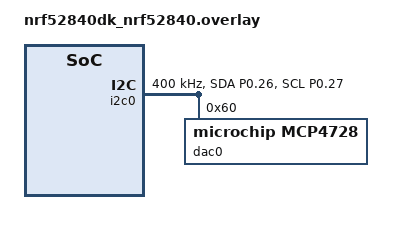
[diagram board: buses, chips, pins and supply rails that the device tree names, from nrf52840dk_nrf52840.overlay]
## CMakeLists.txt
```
cmake_minimum_required(VERSION 3.20.0)
find_package(Zephyr REQUIRED HINTS $ENV{ZEPHYR_BASE})

project(dac-mcp4728)

target_sources(app PRIVATE src/main.c)
```

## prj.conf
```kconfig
CONFIG_PRINTK=y
CONFIG_PWM=y
CONFIG_PWM_LOG_LEVEL_DBG=n
CONFIG_BOOTLOADER_MCUBOOT=y
#CONFIG_UART_ASYNC_API=y

CONFIG_LOG=y
CONFIG_LOG_DEFAULT_LEVEL=3
CONFIG_LOG_BACKEND_UART=y


CONFIG_SENSOR=y
CONFIG_I2C=y

CONFIG_DAC=y
CONFIG_DAC_MCP4728=y


CONFIG_SHELL=y
CONFIG_SHELL_MINIMAL=n
CONFIG_SHELL_STACK_SIZE=1024
CONFIG_SHELL_BACKEND_SERIAL=y
#CONFIG_SHELL_BACKEND_RTT=n
CONFIG_CBPRINTF_NANO=y
CONFIG_THREAD_NAME=n
CONFIG_BOOT_BANNER=n
CONFIG_THREAD_MONITOR=n
CONFIG_INIT_STACKS=y

CONFIG_CBPRINTF_COMPLETE=y

CONFIG_SHELL_PROMPT_UART=""
CONFIG_SHELL_ECHO_STATUS=n
CONFIG_SHELL_VT100_COMMANDS=n
CONFIG_SHELL_VT100_COLORS=n
```

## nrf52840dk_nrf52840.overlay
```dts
// To get started, press Ctrl+Space to bring up the completion menu and view the available nodes.

// You can also use the buttons in the sidebar to perform actions on nodes.
// Actions currently available include:

// * Enabling / disabling the node
// * Adding the bus to a bus
// * Removing the node
// * Connecting ADC channels

// For more help, browse the DeviceTree documentation at https://docs.zephyrproject.org/latest/guides/dts/index.html
// You can also visit the nRF DeviceTree extension documentation at https://docs.nordicsemi.com/bundle/nrf-connect-vscode/page/guides/ncs_configure_app.html#devicetree-support-in-the-extension

/ {
    zephyr,user {
        dac = <&dac0>;
        dac-channel-id = <0>;
        dac-resolution = <12>;
    };
    aliases{
        dac0 = &dac0;
    };
};

&pinctrl {

	i2c0_default: i2c0_default {
		group1 {
			psels = <NRF_PSEL(TWIM_SDA, 0, 26)>,
					<NRF_PSEL(TWIM_SCL, 0, 27)>;
			bias-pull-up;
		};
	};

	i2c0_sleep: i2c0_sleep {
		group1 {
			psels = <NRF_PSEL(TWIM_SDA, 0, 26)>,
					<NRF_PSEL(TWIM_SCL, 0, 27)>;
			low-power-enable;
		};
	};
};

&i2c0 {
	compatible = "nordic,nrf-twim";
	status = "okay";
	pinctrl-0 = <&i2c0_default>;
	pinctrl-1 = <&i2c0_sleep>;
	pinctrl-names = "default", "sleep";
	clock-frequency = <400000>;
	
	dac0: mcp4728@60 {
		status = "okay";
		compatible = "microchip,mcp4728";
		reg = <0x60>;
        voltage_reference = <1>;
        #io-channel-cells = <1>;
        power_down_mode = <0>;
	};
	
};
```

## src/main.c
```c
/* 
 * mcp4728 example
 * https://www.microchip.com/en-us/product/mcp4728
 * 
 * Copyright 2024 Aaron Mothar & Co Pty Ltd
 * Copyright (c) Aaron Mohtar & Craig Peacock
 * SPDX-License-Identifier: Apache-2.0
 * 
 * If this example does not work due to sensor driver issue, check the following:
 * - The ina3221 folder is under zephyr/drivers/sensor. The folder can be downloaded from: https://github.com/zephyrproject-rtos/zephyr/tree/d44e96e486ae442d523c3b88ba1ec39b6d5891bd/drivers/sensor/ina3221
 * - This line is added to CMakeLists.txt (found in zephyr/drivers/sensor): add_subdirectory_ifdef(CONFIG_INA3221 ina3221)
 * - This line is added to Kconfig (found in zephyr/drivers/sensor): source "drivers/sensor/ina3221/Kconfig"
 * - This file is in the zephyr\dts\bindings\sensor folder: ti,ina3221.yaml. This can be found here https://github.com/zephyrproject-rtos/zephyr/blob/d44e96e486ae442d523c3b88ba1ec39b6d5891bd/dts/bindings/sensor/ti%2Cina3221.yaml
 *
 * Other potential errors: a float function in ina3221.c. The function can be found online in sensor.c (?)
 */

#include <stdio.h>
#include <string.h>
#include <hal/nrf_gpio.h>
#include <zephyr/kernel.h>
#include <zephyr/sys/printk.h>
#include <zephyr/device.h>
#include <zephyr/drivers/pwm.h>
#include <zephyr/drivers/gpio.h>
#include <zephyr/drivers/uart.h>

#include <zephyr/drivers/gpio.h>
#include <zephyr/drivers/uart.h>
#include <zephyr/drivers/i2c.h>
#include <zephyr/drivers/dac.h>

#include <zephyr/settings/settings.h>

#include <zephyr/shell/shell.h>

//#define DAC_SPEED_TEST

struct shell *shellPtr;
const struct device *dev_mcp4728 = DEVICE_DT_GET(DT_NODELABEL(dac0));

const struct device *uart = DEVICE_DT_GET(DT_NODELABEL(uart0));

static int mcp4728_cmd_configure_handler(const struct shell *sh, size_t argc, char **argv);
static int mcp4728_cmd_channel_set_handler(const struct shell *sh, size_t argc, char **argv);

// Shell configuration
SHELL_STATIC_SUBCMD_SET_CREATE
(sub_mcp4728,
	SHELL_CMD(configure, NULL, "NOT IMPLEMENTED YET", mcp4728_cmd_configure_handler),
        SHELL_CMD(set, NULL, "set <channel number 0-4> <value 0-4095>", mcp4728_cmd_channel_set_handler),
	SHELL_SUBCMD_SET_END
);

SHELL_CMD_REGISTER(mcp4728, &sub_mcp4728, "MCP4728 4-channel DAC output", NULL);


int main(void)
{
        k_msleep(100);
        printk("MCP4728 DAC test with SHELL\r\n");
	
	if (!device_is_ready(uart)){
		printk("UART device not ready\r\n");
		return 1 ;
	}

        if (!dev_mcp4728) {
		printk("I2C: Device driver for mcp4728 not found.\n");
	} 
        else
        {
             /*   const struct dac_channel_cfg *	channel_cfg;
                channel_cfg.channel_id = 0;
                channel_cfg.resolution= 12;
                dac_channel_setup(&dev_mcp4728,channel_cfg);
                */
        }
        uint16_t counter = 0;
        while(1)
        {
                //


        #ifdef DAC_SPEED_TEST
                // I2C speed set to 100KHz, 490us
                // I2C speed set to 400KHz, 162us
                // I2C speed set at 1000KHz, not supported in DTS
                dac_write_value(dev_mcp4728,0,counter); // Sends a DAC output to channel 0. Check above for speed of execution

                counter = counter + 1000;

                if(counter >= 4096)     // 12 bit resolution
                        counter = 0;
        #else
                k_msleep(100);
        #endif

        }
        return 0;
}

static int mcp4728_cmd_configure_handler(const struct shell *sh, size_t argc, char **argv)
{
        shell_print(sh,"mcp4728 configure cmd received - COMMAND NOT IMPLEMENTED YET\n");
        return 0;
}

static int mcp4728_cmd_channel_set_handler(const struct shell *sh, size_t argc, char **argv)
{
        int channel = atoi(argv[1]); 
        int dac_value = atoi(argv[2]); 
        int err = 0;

        if((channel >= 4) || (channel < 0))
        {
                shell_print(sh,"Incorrect channel number. Accepted values 0 - 4.");
                return -1;
        }
        
        if(dac_value > 4095)
        {
                dac_value = 4095;
                shell_print(sh,"Value is greater than max. Value set to 4095.");
        }
        
        err = dac_write_value(dev_mcp4728,channel,dac_value);
        shell_print(sh,"Write to DAC channel %d with %d and response: %d", channel, dac_value,err);
        return 0;
}
```
